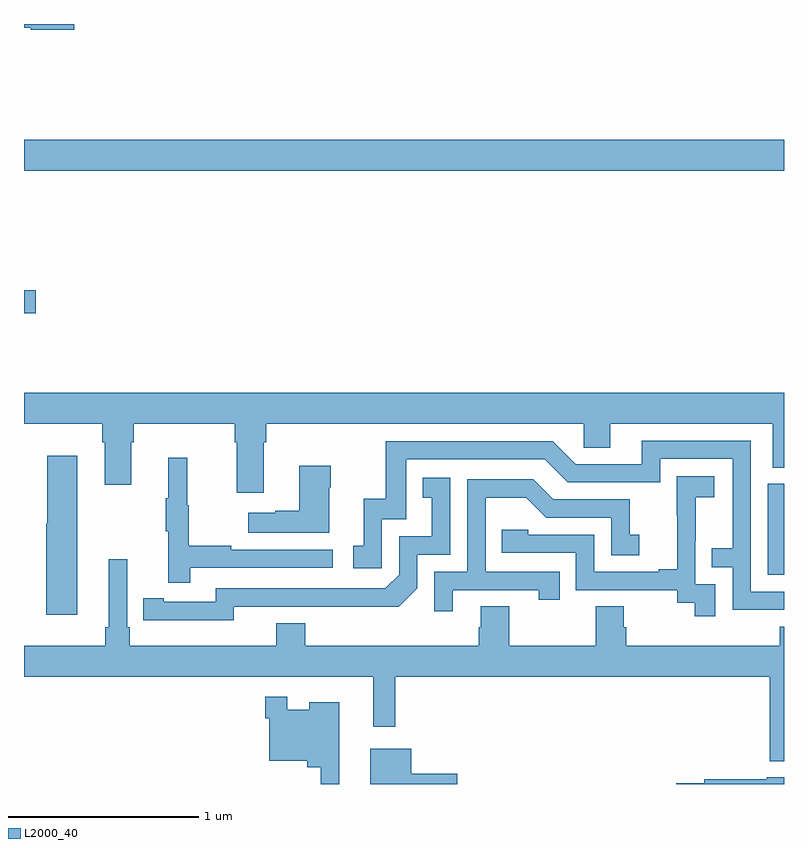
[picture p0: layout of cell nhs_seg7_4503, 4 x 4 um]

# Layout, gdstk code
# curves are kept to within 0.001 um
import gdstk
lib = gdstk.Library(unit=1e-6, precision=1e-09)
def R(c, l, rs):  # rectangles x0, y0, x1, y1
    for r in rs: c.add(gdstk.rectangle(r[:2], r[2:], *l))
def P(c, l, *ps):  # polygons
    for p in ps: c.add(gdstk.Polygon(p, *l))
L2000_40 = (2000, 40)

nhs_seg7_4503 = lib.new_cell('nhs_seg7_4503')
R(nhs_seg7_4503, L2000_40, [(396.915,1053.102,397,1053.579), (393,1054.478,393.061,1054.6), (393,1055.228,397,1055.392)])
P(nhs_seg7_4503, L2000_40, [(393.265,1056),(393,1056),(393,1055.981),(393.036,1055.981),(393.036,1055.969),(393.265,1055.969)],
  [(394.261,1053.8),(394.274,1053.8),(394.274,1053.896),(395.946,1053.896),(395.946,1053.769),(396.085,1053.769),(396.085,1053.896),(396.941,1053.896),(396.941,1053.664),(397,1053.664),(397,1054.06),(393,1054.06),(393,1053.896),(393.413,1053.896),(393.413,1053.8),(393.425,1053.8),(393.425,1053.576),(393.565,1053.576),(393.565,1053.8),(393.578,1053.8),(393.578,1053.896),(394.109,1053.896),(394.109,1053.8),(394.121,1053.8),(394.121,1053.534),(394.261,1053.534)],
  [(397,1053.012),(396.825,1053.012),(396.825,1053.807),(396.251,1053.807),(396.251,1053.684),(395.904,1053.684),(395.784,1053.804),(394.905,1053.804),(394.905,1053.502),(394.787,1053.502),(394.787,1053.255),(394.734,1053.255),(394.734,1053.135),(394.884,1053.135),(394.884,1053.393),(395.013,1053.393),(395.013,1053.708),(395.742,1053.708),(395.862,1053.588),(396.348,1053.588),(396.348,1053.711),(396.729,1053.711),(396.729,1053.242),(396.619,1053.242),(396.619,1053.141),(396.729,1053.141),(396.729,1052.916),(397,1052.916)],
  [(393.28,1053.727),(393.122,1053.727),(393.122,1053.369),(393.116,1053.369),(393.116,1052.892),(393.28,1052.892)],
  [(393.875,1053.138),(394.624,1053.138),(394.624,1053.234),(394.091,1053.234),(394.091,1053.254),(393.868,1053.254),(393.868,1053.468),(393.86,1053.468),(393.86,1053.718),(393.758,1053.718),(393.758,1053.505),(393.747,1053.505),(393.747,1053.331),(393.758,1053.331),(393.758,1053.06),(393.875,1053.06)],
  [(394.606,1053.563),(394.614,1053.563),(394.614,1053.676),(394.448,1053.676),(394.448,1053.437),(394.322,1053.437),(394.322,1053.427),(394.179,1053.427),(394.179,1053.323),(394.606,1053.323)],
  [(396.639,1053.051),(396.534,1053.051),(396.534,1053.281),(396.536,1053.281),(396.536,1053.509),(396.634,1053.509),(396.634,1053.619),(396.436,1053.619),(396.436,1053.413),(396.437,1053.413),(396.437,1053.13),(396.341,1053.13),(396.341,1053.117),(396,1053.117),(396,1053.312),(395.655,1053.312),(395.655,1053.339),(395.515,1053.339),(395.515,1053.216),(395.904,1053.216),(395.904,1053.021),(396.438,1053.021),(396.438,1052.953),(396.531,1052.953),(396.531,1052.883),(396.639,1052.883)],
  [(394.104,1052.934),(394.972,1052.933),(395.07,1053.03),(395.07,1053.207),(395.244,1053.207),(395.244,1053.613),(395.098,1053.613),(395.098,1053.507),(395.147,1053.507),(395.147,1053.303),(394.974,1053.303),(394.974,1053.102),(394.902,1053.03),(394.008,1053.03),(394.008,1052.958),(393.736,1052.958),(393.736,1052.978),(393.628,1052.978),(393.628,1052.862),(394.104,1052.861)],
  [(395.257,1053.021),(395.708,1053.021),(395.708,1052.97),(395.819,1052.97),(395.819,1053.117),(395.43,1053.117),(395.43,1053.506),(395.644,1053.506),(395.748,1053.402),(396.09,1053.402),(396.09,1053.204),(396.238,1053.204),(396.238,1053.313),(396.189,1053.313),(396.189,1053.498),(395.785,1053.498),(395.68,1053.603),(395.334,1053.603),(395.334,1053.117),(395.16,1053.117),(395.16,1052.91),(395.257,1052.91)],
  [(397,1052.827),(396.977,1052.827),(396.977,1052.728),(396.17,1052.728),(396.17,1052.826),(396.157,1052.826),(396.157,1052.936),(396.01,1052.936),(396.01,1052.728),(395.553,1052.728),(395.553,1052.936),(395.405,1052.936),(395.405,1052.826),(395.393,1052.826),(395.393,1052.728),(394.481,1052.728),(394.481,1052.845),(394.328,1052.845),(394.328,1052.728),(393.557,1052.728),(393.557,1052.824),(393.543,1052.824),(393.543,1053.184),(393.446,1053.184),(393.446,1052.824),(393.427,1052.824),(393.427,1052.728),(393,1052.728),(393,1052.564),(394.838,1052.564),(394.838,1052.301),(394.955,1052.301),(394.955,1052.564),(396.924,1052.564),(396.924,1052.12),(397,1052.12)],
  [(394.66,1052.431),(394.502,1052.431),(394.502,1052.392),(394.386,1052.392),(394.386,1052.458),(394.27,1052.458),(394.27,1052.345),(394.29,1052.345),(394.29,1052.123),(394.49,1052.123),(394.49,1052.087),(394.563,1052.087),(394.563,1052),(394.66,1052)],
  [(395.281,1052.054),(395.038,1052.054),(395.038,1052.185),(394.823,1052.185),(394.823,1052),(395.281,1052)],
  [(397,1052.035),(396.908,1052.035),(396.908,1052.024),(396.58,1052.024),(396.58,1052.004),(396.434,1052.004),(396.434,1052),(397,1052)])

lib.write_gds('nhs_seg7_4503.gds')
